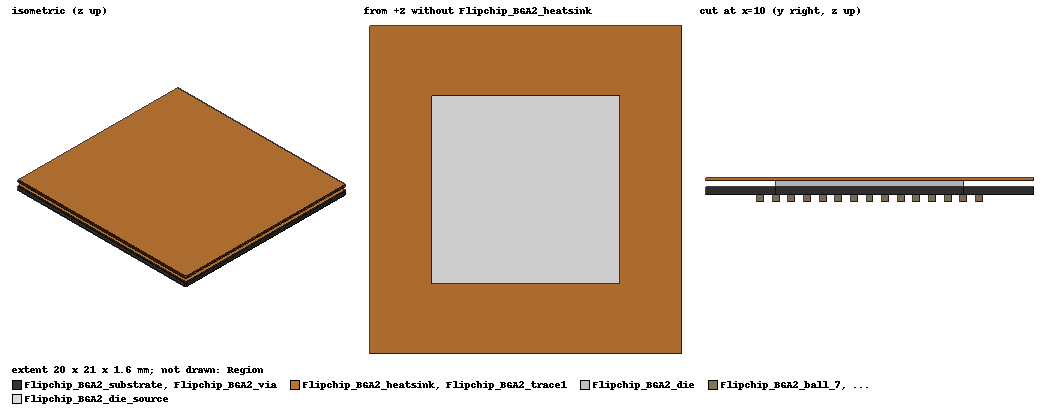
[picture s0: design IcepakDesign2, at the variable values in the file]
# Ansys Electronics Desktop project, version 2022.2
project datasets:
  $Cu_Pure_35: (-273.15, 0.49118388) (-196.15, 0.49118388) (99.85, 1) (726.85, 1)
  $Si_Typical_5: (-273.15, 0.23376623) (-196.15, 0.23376623) (99.85, 1) (726.85, 1)
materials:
  Al-Extruded: thermal_conductivity=205 mass_density=2800 specific_heat=900 youngs_modulus=69000000000 poissons_ratio=0.33 thermal_expansion_coefficient=2.277e-06 thermal_material_type=Solid
  air: permittivity=1.0006 permeability=1.0000004 thermal_conductivity=0.0261 mass_density=1.1614 specific_heat=1005 thermal_expansion_coefficient=0.00333 thermal_material_type=Fluid diffusivity=2.88e-05 molecular_mass=0.028966 viscosity=1.84e-05 material_refractive_index=1.000293
  Substrate_material: thermal_conductivity=0.35 mass_density=1900 specific_heat=795 thermal_material_type=Solid
  Cu-Pure: thermal_modifier{Property=specific_heat free_form_value=pwl($Cu_Pure_35,Temp)} thermal_conductivity=387.6 mass_density=8933 specific_heat=397 thermal_material_type=Solid
  Solder-pb50_sn50: thermal_conductivity=46 mass_density=8890 specific_heat=213 thermal_material_type=Solid
  Si-Typical: thermal_modifier{Property=specific_heat free_form_value=pwl($Si_Typical_5,Temp)} thermal_conductivity=180 mass_density=2330 specific_heat=770 thermal_material_type=Solid
  Flipchip_underfill: thermal_conductivity=0.8 mass_density=1210 specific_heat=1172 thermal_material_type=Solid
  Flipchip_BGA1_trace1_material: thermal_conductivity=213.3375 mass_density=5768.15 specific_heat=576.1
  Flipchip_BGA1_substrate_material: thermal_conductivity{anisotropic component1=0.35 component2=0.35 component3=0.35} mass_density=1900 specific_heat=795
  Flipchip_BGA1_via_material: thermal_conductivity{anisotropic component1=0.35 component2=0.35 component3=1.6172727} mass_density=1900 specific_heat=795
  Flipchip_BGA1_underfill_material: thermal_conductivity{anisotropic component1=0.8 component2=0.8 component3=0.80554687} mass_density=1210.9425 specific_heat=1171.8823
  Flipchip_BGA2_trace1_material: thermal_conductivity=213.3375 mass_density=5768.15 specific_heat=576.1
  Flipchip_BGA2_substrate_material: thermal_conductivity{anisotropic component1=0.35 component2=0.35 component3=0.35} mass_density=1900 specific_heat=795
  Flipchip_BGA2_via_material: thermal_conductivity{anisotropic component1=0.35 component2=0.35 component3=0.35} mass_density=1900 specific_heat=795
  Flipchip_BGA2_underfill_material: thermal_conductivity{anisotropic component1=0.8 component2=0.8 component3=0.80554687} mass_density=1210.9425 specific_heat=1171.8823
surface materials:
  Steel-oxidised-surface: surface_emissivity=0.8

design IcepakDesign2 (Icepak, SteadyState TemperatureAndFlow, model units mm)
options: Default_Fluid_Material=air Default_Solid_Material=Al-Extruded Default_Surface_Material=Steel-oxidised-surface AmbientTemperature=20cel AmbientPressure=0n_per_meter_sq AmbientRadiationTemperature=20cel Gravity_Vector_CS_ID=Global Gravity_Vector_Axis=Z Positive=false
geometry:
  Region [air] = region(percentage_offset=50 on all sides)
  Flipchip_BGA2_die [Si-Typical] = box(corner=(0.0mm+ 0.5*20mm-0.5*12mm, 0.0mm+ 0.5*21mm-0.5*12mm, 0.0mm+0.5mm+0.5mm+0.01mm), size=(12mm, 12mm, 1.6mm-0.5mm-0.5mm-0.01mm-0.2mm))
  Flipchip_BGA2_die_source [Si-Typical] = rectangle(corner=(0.0mm+ 0.5*20mm-0.5*12mm, 0.0mm+ 0.5*21mm-0.5*12mm, 0.0mm+0.5mm+0.5mm+0.01mm+1.6mm-0.5mm-0.5mm-0.01mm-0.2mm), x_size=12mm, y_size=12mm)
  Flipchip_BGA2_die_underfill [Flipchip_BGA2_underfill_material] = box(corner=(0.0mm+ 0.5*20mm-0.5*12mm, 0.0mm+ 0.5*21mm-0.5*12mm, 0.0mm+0.5mm+0.5mm), size=(12mm, 12mm, 0.01mm))
  Flipchip_BGA2_substrate [Flipchip_BGA2_substrate_material] = box(corner=(0mm, 0mm, 0.0mm+0.5mm+0.5mm-0.5mm), size=(20mm, 21mm, 0.5mm))
  Flipchip_BGA2_heatsink [Cu-Pure] = box(corner=(0.0mm+ 0.5*20mm-0.5*20mm, 0.0mm+ 0.5*21mm-0.5*21mm, 0.0mm+0.5mm+0.5mm+0.01mm+1.6mm-0.5mm-0.5mm-0.01mm-0.2mm), size=(20mm, 21mm, 0.2mm))
  Flipchip_BGA2_via [Flipchip_BGA2_via_material] = box(corner=(0.0mm+ 0.5*20mm-0.5*12mm, 0.0mm+ 0.5*21mm-0.5*12mm, 0.0mm+0.5mm+0.5mm-1*0.5mm), size=(12mm, 12mm, 0.5mm))
  Flipchip_BGA2_trace1 [Flipchip_BGA2_trace1_material] = rectangle(corner=(0mm, 0mm, 0.0mm+0.5mm+0.5mm), x_size=20mm, y_size=21mm)
  Flipchip_BGA2_ball [Solder-pb50_sn50] = box(corner=(0.0mm+(0.5*(20mm-((1.0mm*15)-(1.0mm-0.443113462726mm)))), 0.0mm+(0.5*(21mm-((1.0mm*15)-(1.0mm-0.443113462726mm)))), 0mm), size=(0.44311346mm, 0.44311346mm, 0.5mm))
  Flipchip_BGA2_ball_1..Flipchip_BGA2_ball_14 [Solder-pb50_sn50] = Flipchip_BGA2_ball.duplicate_along_line(step=(1mm, 0mm, 0mm), total=15)
  Flipchip_BGA2_ball_15..Flipchip_BGA2_ball_28 [Solder-pb50_sn50] = Flipchip_BGA2_ball.duplicate_along_line(step=(0mm, 1mm, 0mm), total=15)
  Flipchip_BGA2_ball_1_1..Flipchip_BGA2_ball_1_14 [Solder-pb50_sn50] = Flipchip_BGA2_ball_1.duplicate_along_line(step=(0mm, 1mm, 0mm), total=15)
  Flipchip_BGA2_ball_2_1..Flipchip_BGA2_ball_2_14 [Solder-pb50_sn50] = Flipchip_BGA2_ball_2.duplicate_along_line(step=(0mm, 1mm, 0mm), total=15)
  Flipchip_BGA2_ball_3_1..Flipchip_BGA2_ball_3_14 [Solder-pb50_sn50] = Flipchip_BGA2_ball_3.duplicate_along_line(step=(0mm, 1mm, 0mm), total=15)
  Flipchip_BGA2_ball_4_1..Flipchip_BGA2_ball_4_14 [Solder-pb50_sn50] = Flipchip_BGA2_ball_4.duplicate_along_line(step=(0mm, 1mm, 0mm), total=15)
  Flipchip_BGA2_ball_5_1..Flipchip_BGA2_ball_5_14 [Solder-pb50_sn50] = Flipchip_BGA2_ball_5.duplicate_along_line(step=(0mm, 1mm, 0mm), total=15)
  Flipchip_BGA2_ball_6_1..Flipchip_BGA2_ball_6_14 [Solder-pb50_sn50] = Flipchip_BGA2_ball_6.duplicate_along_line(step=(0mm, 1mm, 0mm), total=15)
  Flipchip_BGA2_ball_7_1..Flipchip_BGA2_ball_7_14 [Solder-pb50_sn50] = Flipchip_BGA2_ball_7.duplicate_along_line(step=(0mm, 1mm, 0mm), total=15)
  Flipchip_BGA2_ball_8_1..Flipchip_BGA2_ball_8_14 [Solder-pb50_sn50] = Flipchip_BGA2_ball_8.duplicate_along_line(step=(0mm, 1mm, 0mm), total=15)
  Flipchip_BGA2_ball_9_1..Flipchip_BGA2_ball_9_14 [Solder-pb50_sn50] = Flipchip_BGA2_ball_9.duplicate_along_line(step=(0mm, 1mm, 0mm), total=15)
  Flipchip_BGA2_ball_10_1..Flipchip_BGA2_ball_10_14 [Solder-pb50_sn50] = Flipchip_BGA2_ball_10.duplicate_along_line(step=(0mm, 1mm, 0mm), total=15)
  Flipchip_BGA2_ball_11_1..Flipchip_BGA2_ball_11_14 [Solder-pb50_sn50] = Flipchip_BGA2_ball_11.duplicate_along_line(step=(0mm, 1mm, 0mm), total=15)
  Flipchip_BGA2_ball_12_1..Flipchip_BGA2_ball_12_14 [Solder-pb50_sn50] = Flipchip_BGA2_ball_12.duplicate_along_line(step=(0mm, 1mm, 0mm), total=15)
  Flipchip_BGA2_ball_13_1..Flipchip_BGA2_ball_13_14 [Solder-pb50_sn50] = Flipchip_BGA2_ball_13.duplicate_along_line(step=(0mm, 1mm, 0mm), total=15)
  Flipchip_BGA2_ball_14_1..Flipchip_BGA2_ball_14_14 [Solder-pb50_sn50] = Flipchip_BGA2_ball_14.duplicate_along_line(step=(0mm, 1mm, 0mm), total=15)
  priority 1: Flipchip_BGA2_die
  priority 2: Flipchip_BGA2_die_source
  priority 3: Flipchip_BGA2_die_underfill
  priority 4: Flipchip_BGA2_substrate
  priority 5: Flipchip_BGA2_heatsink
  priority 6: Flipchip_BGA2_via
  priority 7: Flipchip_BGA2_trace1
  priority 8: Flipchip_BGA2_ball
  priority 9: Flipchip_BGA2_ball_1
  priority 10: Flipchip_BGA2_ball_2
  priority 11: Flipchip_BGA2_ball_3
  priority 12: Flipchip_BGA2_ball_4
  priority 13: Flipchip_BGA2_ball_5
  priority 14: Flipchip_BGA2_ball_6
  priority 15: Flipchip_BGA2_ball_7
  priority 16: Flipchip_BGA2_ball_8
  priority 17: Flipchip_BGA2_ball_9
  priority 18: Flipchip_BGA2_ball_10
  priority 19: Flipchip_BGA2_ball_11
  priority 20: Flipchip_BGA2_ball_12
  priority 21: Flipchip_BGA2_ball_13
  priority 22: Flipchip_BGA2_ball_14
  priority 23: Flipchip_BGA2_ball_15
  priority 24: Flipchip_BGA2_ball_16
  priority 25: Flipchip_BGA2_ball_17
  priority 26: Flipchip_BGA2_ball_18
  priority 27: Flipchip_BGA2_ball_19
  priority 28: Flipchip_BGA2_ball_20
  priority 29: Flipchip_BGA2_ball_21
  priority 30: Flipchip_BGA2_ball_22
  priority 31: Flipchip_BGA2_ball_23
  priority 32: Flipchip_BGA2_ball_24
  priority 33: Flipchip_BGA2_ball_25
  priority 34: Flipchip_BGA2_ball_26
  priority 35: Flipchip_BGA2_ball_27
  priority 36: Flipchip_BGA2_ball_28
  priority 37: Flipchip_BGA2_ball_1_1
  priority 38: Flipchip_BGA2_ball_1_2
  priority 39: Flipchip_BGA2_ball_1_3
  priority 40: Flipchip_BGA2_ball_1_4
  priority 41: Flipchip_BGA2_ball_1_5
  priority 42: Flipchip_BGA2_ball_1_6
  priority 43: Flipchip_BGA2_ball_1_7
  priority 44: Flipchip_BGA2_ball_1_8
  priority 45: Flipchip_BGA2_ball_1_9
  priority 46: Flipchip_BGA2_ball_1_10
  priority 47: Flipchip_BGA2_ball_1_11
  priority 48: Flipchip_BGA2_ball_1_12
  priority 49: Flipchip_BGA2_ball_1_13
  priority 50: Flipchip_BGA2_ball_1_14
  priority 51: Flipchip_BGA2_ball_2_1
  priority 52: Flipchip_BGA2_ball_2_2
  priority 53: Flipchip_BGA2_ball_2_3
  priority 54: Flipchip_BGA2_ball_2_4
  priority 55: Flipchip_BGA2_ball_2_5
  priority 56: Flipchip_BGA2_ball_2_6
  priority 57: Flipchip_BGA2_ball_2_7
  priority 58: Flipchip_BGA2_ball_2_8
  priority 59: Flipchip_BGA2_ball_2_9
  priority 60: Flipchip_BGA2_ball_2_10
  priority 61: Flipchip_BGA2_ball_2_11
  priority 62: Flipchip_BGA2_ball_2_12
  priority 63: Flipchip_BGA2_ball_2_13
  priority 64: Flipchip_BGA2_ball_2_14
  priority 65: Flipchip_BGA2_ball_3_1
  priority 66: Flipchip_BGA2_ball_3_2
  priority 67: Flipchip_BGA2_ball_3_3
  priority 68: Flipchip_BGA2_ball_3_4
  priority 69: Flipchip_BGA2_ball_3_5
  priority 70: Flipchip_BGA2_ball_3_6
  priority 71: Flipchip_BGA2_ball_3_7
  priority 72: Flipchip_BGA2_ball_3_8
  priority 73: Flipchip_BGA2_ball_3_9
  priority 74: Flipchip_BGA2_ball_3_10
  priority 75: Flipchip_BGA2_ball_3_11
  priority 76: Flipchip_BGA2_ball_3_12
  priority 77: Flipchip_BGA2_ball_3_13
  priority 78: Flipchip_BGA2_ball_3_14
  priority 79: Flipchip_BGA2_ball_4_1
  priority 80: Flipchip_BGA2_ball_4_2
  priority 81: Flipchip_BGA2_ball_4_3
  priority 82: Flipchip_BGA2_ball_4_4
  priority 83: Flipchip_BGA2_ball_4_5
  priority 84: Flipchip_BGA2_ball_4_6
  priority 85: Flipchip_BGA2_ball_4_7
  priority 86: Flipchip_BGA2_ball_4_8
  priority 87: Flipchip_BGA2_ball_4_9
  priority 88: Flipchip_BGA2_ball_4_10
  priority 89: Flipchip_BGA2_ball_4_11
  priority 90: Flipchip_BGA2_ball_4_12
  priority 91: Flipchip_BGA2_ball_4_13
  priority 92: Flipchip_BGA2_ball_4_14
  priority 93: Flipchip_BGA2_ball_5_1
  priority 94: Flipchip_BGA2_ball_5_2
  priority 95: Flipchip_BGA2_ball_5_3
  priority 96: Flipchip_BGA2_ball_5_4
  priority 97: Flipchip_BGA2_ball_5_5
  priority 98: Flipchip_BGA2_ball_5_6
  priority 99: Flipchip_BGA2_ball_5_7
  priority 100: Flipchip_BGA2_ball_5_8
  priority 101: Flipchip_BGA2_ball_5_9
  priority 102: Flipchip_BGA2_ball_5_10
  priority 103: Flipchip_BGA2_ball_5_11
  priority 104: Flipchip_BGA2_ball_5_12
  priority 105: Flipchip_BGA2_ball_5_13
  priority 106: Flipchip_BGA2_ball_5_14
  priority 107: Flipchip_BGA2_ball_6_1
  priority 108: Flipchip_BGA2_ball_6_2
  priority 109: Flipchip_BGA2_ball_6_3
  priority 110: Flipchip_BGA2_ball_6_4
  priority 111: Flipchip_BGA2_ball_6_5
  priority 112: Flipchip_BGA2_ball_6_6
  priority 113: Flipchip_BGA2_ball_6_7
  priority 114: Flipchip_BGA2_ball_6_8
  priority 115: Flipchip_BGA2_ball_6_9
  priority 116: Flipchip_BGA2_ball_6_10
  priority 117: Flipchip_BGA2_ball_6_11
  priority 118: Flipchip_BGA2_ball_6_12
  priority 119: Flipchip_BGA2_ball_6_13
  priority 120: Flipchip_BGA2_ball_6_14
  priority 121: Flipchip_BGA2_ball_7_1
  priority 122: Flipchip_BGA2_ball_7_2
  priority 123: Flipchip_BGA2_ball_7_3
  priority 124: Flipchip_BGA2_ball_7_4
  priority 125: Flipchip_BGA2_ball_7_5
  priority 126: Flipchip_BGA2_ball_7_6
  priority 127: Flipchip_BGA2_ball_7_7
  priority 128: Flipchip_BGA2_ball_7_8
  priority 129: Flipchip_BGA2_ball_7_9
  priority 130: Flipchip_BGA2_ball_7_10
  priority 131: Flipchip_BGA2_ball_7_11
  priority 132: Flipchip_BGA2_ball_7_12
  priority 133: Flipchip_BGA2_ball_7_13
  priority 134: Flipchip_BGA2_ball_7_14
  priority 135: Flipchip_BGA2_ball_8_1
  priority 136: Flipchip_BGA2_ball_8_2
  priority 137: Flipchip_BGA2_ball_8_3
  priority 138: Flipchip_BGA2_ball_8_4
  priority 139: Flipchip_BGA2_ball_8_5
  priority 140: Flipchip_BGA2_ball_8_6
  priority 141: Flipchip_BGA2_ball_8_7
  priority 142: Flipchip_BGA2_ball_8_8
  priority 143: Flipchip_BGA2_ball_8_9
  priority 144: Flipchip_BGA2_ball_8_10
  priority 145: Flipchip_BGA2_ball_8_11
  priority 146: Flipchip_BGA2_ball_8_12
  priority 147: Flipchip_BGA2_ball_8_13
  priority 148: Flipchip_BGA2_ball_8_14
  priority 149: Flipchip_BGA2_ball_9_1
  priority 150: Flipchip_BGA2_ball_9_2
  priority 151: Flipchip_BGA2_ball_9_3
  priority 152: Flipchip_BGA2_ball_9_4
  priority 153: Flipchip_BGA2_ball_9_5
  priority 154: Flipchip_BGA2_ball_9_6
  priority 155: Flipchip_BGA2_ball_9_7
  priority 156: Flipchip_BGA2_ball_9_8
  priority 157: Flipchip_BGA2_ball_9_9
  priority 158: Flipchip_BGA2_ball_9_10
  priority 159: Flipchip_BGA2_ball_9_11
  priority 160: Flipchip_BGA2_ball_9_12
  priority 161: Flipchip_BGA2_ball_9_13
  priority 162: Flipchip_BGA2_ball_9_14
  priority 163: Flipchip_BGA2_ball_10_1
  priority 164: Flipchip_BGA2_ball_10_2
  priority 165: Flipchip_BGA2_ball_10_3
  priority 166: Flipchip_BGA2_ball_10_4
  priority 167: Flipchip_BGA2_ball_10_5
  priority 168: Flipchip_BGA2_ball_10_6
  priority 169: Flipchip_BGA2_ball_10_7
  priority 170: Flipchip_BGA2_ball_10_8
  priority 171: Flipchip_BGA2_ball_10_9
  priority 172: Flipchip_BGA2_ball_10_10
  priority 173: Flipchip_BGA2_ball_10_11
  priority 174: Flipchip_BGA2_ball_10_12
  priority 175: Flipchip_BGA2_ball_10_13
  priority 176: Flipchip_BGA2_ball_10_14
  priority 177: Flipchip_BGA2_ball_11_1
  priority 178: Flipchip_BGA2_ball_11_2
  priority 179: Flipchip_BGA2_ball_11_3
  priority 180: Flipchip_BGA2_ball_11_4
  priority 181: Flipchip_BGA2_ball_11_5
  priority 182: Flipchip_BGA2_ball_11_6
  priority 183: Flipchip_BGA2_ball_11_7
  priority 184: Flipchip_BGA2_ball_11_8
  priority 185: Flipchip_BGA2_ball_11_9
  priority 186: Flipchip_BGA2_ball_11_10
  priority 187: Flipchip_BGA2_ball_11_11
  priority 188: Flipchip_BGA2_ball_11_12
  priority 189: Flipchip_BGA2_ball_11_13
  priority 190: Flipchip_BGA2_ball_11_14
  priority 191: Flipchip_BGA2_ball_12_1
  priority 192: Flipchip_BGA2_ball_12_2
  priority 193: Flipchip_BGA2_ball_12_3
  priority 194: Flipchip_BGA2_ball_12_4
  priority 195: Flipchip_BGA2_ball_12_5
  priority 196: Flipchip_BGA2_ball_12_6
  priority 197: Flipchip_BGA2_ball_12_7
  priority 198: Flipchip_BGA2_ball_12_8
  priority 199: Flipchip_BGA2_ball_12_9
  priority 200: Flipchip_BGA2_ball_12_10
  priority 201: Flipchip_BGA2_ball_12_11
  priority 202: Flipchip_BGA2_ball_12_12
  priority 203: Flipchip_BGA2_ball_12_13
  priority 204: Flipchip_BGA2_ball_12_14
  priority 205: Flipchip_BGA2_ball_13_1
  priority 206: Flipchip_BGA2_ball_13_2
  priority 207: Flipchip_BGA2_ball_13_3
  priority 208: Flipchip_BGA2_ball_13_4
  priority 209: Flipchip_BGA2_ball_13_5
  priority 210: Flipchip_BGA2_ball_13_6
  priority 211: Flipchip_BGA2_ball_13_7
  priority 212: Flipchip_BGA2_ball_13_8
  priority 213: Flipchip_BGA2_ball_13_9
  priority 214: Flipchip_BGA2_ball_13_10
  priority 215: Flipchip_BGA2_ball_13_11
  priority 216: Flipchip_BGA2_ball_13_12
  priority 217: Flipchip_BGA2_ball_13_13
  priority 218: Flipchip_BGA2_ball_13_14
  priority 219: Flipchip_BGA2_ball_14_1
  priority 220: Flipchip_BGA2_ball_14_2
  priority 221: Flipchip_BGA2_ball_14_3
  priority 222: Flipchip_BGA2_ball_14_4
  priority 223: Flipchip_BGA2_ball_14_5
  priority 224: Flipchip_BGA2_ball_14_6
  priority 225: Flipchip_BGA2_ball_14_7
  priority 226: Flipchip_BGA2_ball_14_8
  priority 227: Flipchip_BGA2_ball_14_9
  priority 228: Flipchip_BGA2_ball_14_10
  priority 229: Flipchip_BGA2_ball_14_11
  priority 230: Flipchip_BGA2_ball_14_12
  priority 231: Flipchip_BGA2_ball_14_13
  priority 232: Flipchip_BGA2_ball_14_14
  group Flipchip_BGA2_Group = Flipchip_BGA2_die, Flipchip_BGA2_die_source, Flipchip_BGA2_die_underfill, Flipchip_BGA2_substrate, Flipchip_BGA2_heatsink, Flipchip_BGA2_via, Flipchip_BGA2_trace1
  group Flipchip_BGA2_ball_Group = Flipchip_BGA2_ball, Flipchip_BGA2_ball_1..Flipchip_BGA2_ball_28, Flipchip_BGA2_ball_1_1..Flipchip_BGA2_ball_1_14, Flipchip_BGA2_ball_2_1..Flipchip_BGA2_ball_2_14, Flipchip_BGA2_ball_3_1..Flipchip_BGA2_ball_3_14, Flipchip_BGA2_ball_4_1..Flipchip_BGA2_ball_4_14, Flipchip_BGA2_ball_5_1..Flipchip_BGA2_ball_5_14, Flipchip_BGA2_ball_6_1..Flipchip_BGA2_ball_6_14, Flipchip_BGA2_ball_7_1..Flipchip_BGA2_ball_7_14, Flipchip_BGA2_ball_8_1..Flipchip_BGA2_ball_8_14, Flipchip_BGA2_ball_9_1..Flipchip_BGA2_ball_9_14, Flipchip_BGA2_ball_10_1..Flipchip_BGA2_ball_10_14, Flipchip_BGA2_ball_11_1..Flipchip_BGA2_ball_11_14, Flipchip_BGA2_ball_12_1..Flipchip_BGA2_ball_12_14, Flipchip_BGA2_ball_13_1..Flipchip_BGA2_ball_13_14, Flipchip_BGA2_ball_14_1..Flipchip_BGA2_ball_14_14
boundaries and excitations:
  Flipchip_BGA2_die_source: Source Objects=Flipchip_BGA2_die_source Thermal_Condition="Total Power" Total_Power=4W
  Flipchip_BGA2_trace1: Conducting Plate Objects=Flipchip_BGA2_trace1 Thermal_Specification=Thickness Thickness=0.033mm Solid_Material=Flipchip_BGA2_trace1_material Total_Power=0W Shell_Conduction
  Source1: Source Objects=Flipchip_BGA2_substrate Thermal_Condition="Fixed Temperature" Temperature=AmbientTemp
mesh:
  MeshRegions:  Global{MeshMethod=MesherHD ComputeGap MeshRegionResolution=3 MinGapX=1mm MinGapY=1mm MinGapZ=1mm Objects=Region FacetLevel=3 ProximitySizeFunction CurvatureSizeFunction OptimizePCBMesh}
  MeshOperations:
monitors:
  PointMonitor1: Quantities(19) Objects=Flipchip_BGA2_substrate
  PointMonitor2: Quantities(19) Objects=Flipchip_BGA2_die_underfill
  PointMonitor3: Quantities(19) Objects=Flipchip_BGA2_die
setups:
  Setup1: IcepakSteadyState Flow_Regime=Laminar Include_Temperature=true Include_Flow=true Convergence_Criteria_-_Flow=0.001 Convergence_Criteria_-_Energy=1e-07 disabled Radiation_Model=Off Under-relaxation_-_Pressure=0.3 Under-relaxation_-_Momentum=0.7 Under-relaxation_-_Temperature=1 Discretization_Scheme_-_Pressure=Standard Discretization_Scheme_-_Momentum=First Discretization_Scheme_-_Temperature=First Convergence_Criteria_-_Max_Iterations=100
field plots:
  Temperature1: Temperature on Setup1 : SteadyState
  Temperature2: Temperature over Region on Setup1 : SteadyState
